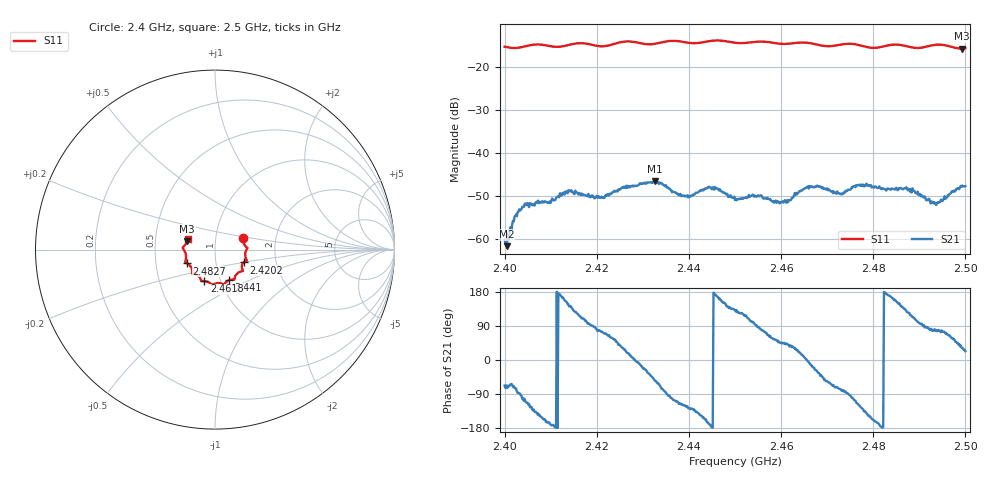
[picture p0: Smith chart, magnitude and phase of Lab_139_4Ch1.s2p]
# Hz S RI R 50
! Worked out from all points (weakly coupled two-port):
!   601 points, 2.4 GHz to 2.5 GHz, reference 50 ohm
!   highest |S21| = -46.66 dB at 2.4327 GHz (marker M1); lowest = -61.7 dB at 2.4005 GHz (marker M2)
!   lowest |S11| = -15.8 dB at 2.4992 GHz (marker M3), VSWR 1.39, Z = 36.5 + j3.65 ohm
!   |S11| at or under -10 dB: start of sweep to end of sweep
!   S12 and S22 are empty: the file has one direction only
!   S11 on the Smith chart (normalised r, x): 2.4 GHz: 1.36, +0.18; 2.4202 GHz: 1.36, -0.20; 2.441 GHz: 1.10, -0.39; 2.4618 GHz: 0.84, -0.30; 2.4827 GHz: 0.72, -0.12; 2.5 GHz: 0.73, +0.09
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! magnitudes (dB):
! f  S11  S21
! 2.4 GHz  -15.4  -60.3
! 2.4005 GHz  -15.5  -61.7
! 2.4027 GHz  -15.6  -54.8
! 2.4045 GHz  -15.3  -51.8
! 2.4137 GHz  -15.0  -49.5
! 2.4167 GHz  -14.5  -49.5
! 2.4202 GHz  -15.2  -50.5
! 2.4327 GHz  -14.7  -46.7
! 2.4333 GHz  -14.5  -46.9
! 2.441 GHz  -14.6  -49.7
! 2.4448 GHz  -14.0  -48.1
! 2.45 GHz  -14.4  -51.0
! 2.4618 GHz  -14.6  -51.1
! 2.4667 GHz  -14.6  -47.8
! 2.473 GHz  -14.9  -49.7
! 2.4768 GHz  -15.0  -47.5
! 2.4827 GHz  -15.2  -48.5
! 2.4833 GHz  -15.0  -48.4
! 2.4873 GHz  -15.3  -48.3
! 2.4937 GHz  -14.9  -52.2
! 2.4992 GHz  -15.8  -47.9
! 2.5 GHz  -15.7  -47.8
